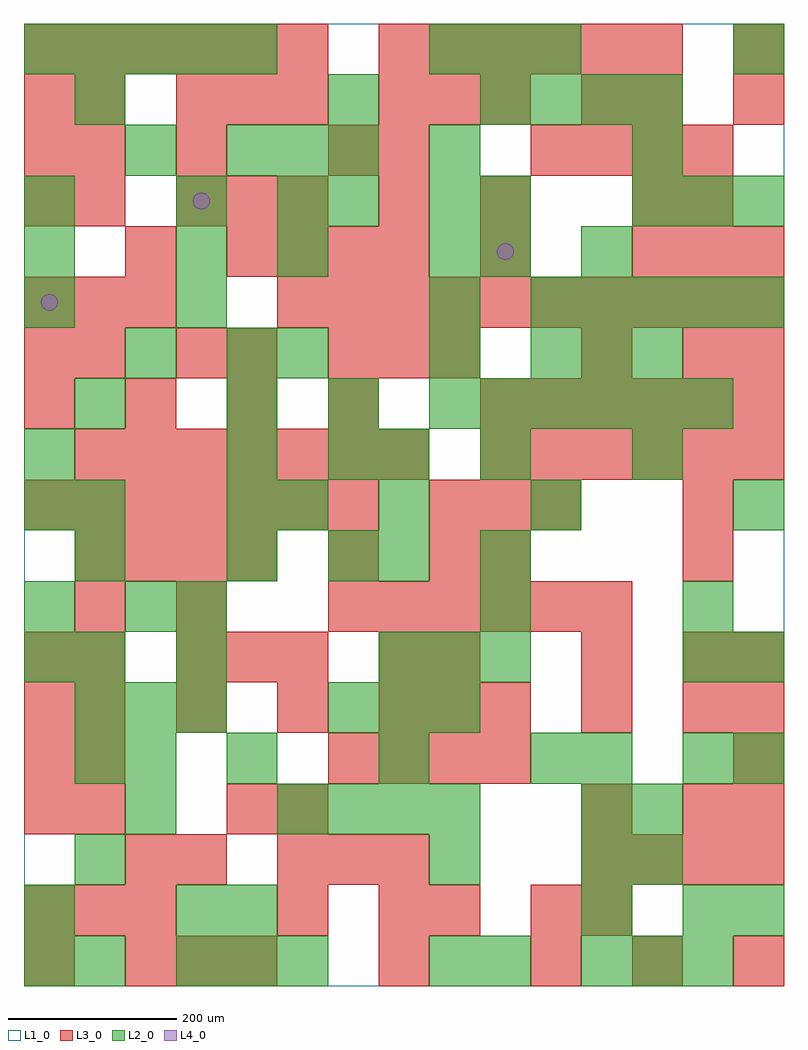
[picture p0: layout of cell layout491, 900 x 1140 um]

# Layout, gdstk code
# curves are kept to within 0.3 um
import gdstk
lib = gdstk.Library(unit=1e-6, precision=1e-09)
def R(c, l, rs):  # rectangles x0, y0, x1, y1
    for r in rs: c.add(gdstk.rectangle(r[:2], r[2:], *l))
def A(c, l, x, y, w, h, nx, ny, dx, dy):  # array of equal rectangles
    R(c, l, [(x+i*dx, y+j*dy, x+i*dx+w, y+j*dy+h) for i in range(nx) for j in range(ny)])
def P(c, l, *ps):  # polygons
    for p in ps: c.add(gdstk.Polygon(p, *l))
L1_0 = (1, 0)
L2_0 = (2, 0)
L3_0 = (3, 0)
L4_0 = (4, 0)

layout491 = lib.new_cell('layout491')
R(layout491, L1_0, [(0,0,900,1140)])
A(layout491, L2_0, 60, 0, 60, 60, 1, 5, 0, 120)
A(layout491, L2_0, 180, 0, 60, 60, 3, 1, 60, 0)
A(layout491, L2_0, 660, 0, 60, 60, 3, 1, 60, 0)
A(layout491, L2_0, 660, 60, 60, 60, 1, 4, 0, 60)
A(layout491, L2_0, 300, 180, 60, 60, 4, 1, 60, 0)
A(layout491, L2_0, 240, 240, 60, 60, 3, 1, 180, 0)
A(layout491, L2_0, 60, 300, 60, 60, 3, 1, 60, 0)
A(layout491, L2_0, 360, 300, 60, 60, 3, 1, 60, 0)
A(layout491, L2_0, 420, 360, 60, 60, 3, 1, 60, 0)
A(layout491, L2_0, 240, 480, 60, 60, 1, 3, 0, 60)
A(layout491, L2_0, 420, 480, 60, 60, 1, 3, 0, 60)
A(layout491, L2_0, 240, 660, 60, 60, 3, 1, 120, 0)
A(layout491, L2_0, 540, 660, 60, 60, 5, 1, 60, 0)
A(layout491, L2_0, 480, 720, 60, 60, 1, 5, 0, 60)
A(layout491, L2_0, 600, 720, 60, 60, 3, 1, 60, 0)
A(layout491, L2_0, 0, 780, 60, 60, 1, 3, 0, 60)
A(layout491, L2_0, 180, 780, 60, 60, 1, 3, 0, 60)
A(layout491, L2_0, 600, 780, 60, 60, 5, 1, 60, 0)
A(layout491, L2_0, 720, 900, 60, 60, 3, 1, 60, 0)
A(layout491, L2_0, 240, 960, 60, 60, 3, 1, 60, 0)
A(layout491, L2_0, 540, 1020, 60, 60, 4, 1, 60, 0)
A(layout491, L2_0, 0, 1080, 60, 60, 5, 1, 60, 0)
A(layout491, L2_0, 480, 1080, 60, 60, 3, 1, 60, 0)
R(layout491, L2_0, [(0,0,60,60), (480,0,540,60), (540,0,600,60), (0,60,60,120), (180,60,240,120), (240,60,300,120), (780,60,840,120), (840,60,900,120), (480,120,540,180), (720,120,780,180), (120,180,180,240), (720,180,780,240), (120,240,180,300), (780,240,840,300), (840,240,900,300), (0,360,60,420), (180,360,240,420), (780,360,840,420), (840,360,900,420), (0,420,60,480), (120,420,180,480), (180,420,240,480), (540,420,600,480), (780,420,840,480), (360,480,420,540), (540,480,600,540), (0,540,60,600), (60,540,120,600), (300,540,360,600), (600,540,660,600), (840,540,900,600), (0,600,60,660), (360,600,420,660), (540,600,600,660), (720,600,780,660), (60,660,120,720), (120,720,180,780), (240,720,300,780), (300,720,360,780), (300,840,360,900), (540,840,600,900), (660,840,720,900), (300,900,360,960), (360,900,420,960), (540,900,600,960), (120,960,180,1020), (720,960,780,1020), (60,1020,120,1080), (360,1020,420,1080), (840,1080,900,1140)])
A(layout491, L3_0, 120, 0, 60, 60, 3, 1, 60, 0)
A(layout491, L3_0, 600, 0, 60, 60, 3, 1, 120, 0)
A(layout491, L3_0, 0, 60, 60, 60, 3, 2, 60, 720)
A(layout491, L3_0, 180, 120, 60, 60, 1, 3, 0, 300)
A(layout491, L3_0, 300, 120, 60, 60, 3, 1, 60, 0)
A(layout491, L3_0, 660, 120, 60, 60, 4, 1, 60, 0)
A(layout491, L3_0, 0, 180, 60, 60, 1, 4, 0, 60)
A(layout491, L3_0, 840, 180, 60, 60, 1, 4, 0, 60)
A(layout491, L3_0, 360, 240, 60, 60, 4, 1, 60, 0)
A(layout491, L3_0, 60, 300, 60, 60, 4, 1, 120, 0)
A(layout491, L3_0, 540, 300, 60, 60, 3, 1, 120, 0)
A(layout491, L3_0, 180, 360, 60, 60, 3, 2, 60, 540)
A(layout491, L3_0, 360, 420, 60, 60, 6, 1, 60, 0)
A(layout491, L3_0, 60, 480, 60, 60, 4, 1, 60, 0)
A(layout491, L3_0, 0, 540, 60, 60, 7, 1, 60, 0)
A(layout491, L3_0, 480, 540, 60, 60, 3, 1, 60, 0)
A(layout491, L3_0, 780, 540, 60, 60, 1, 3, 0, 180)
A(layout491, L3_0, 60, 600, 60, 60, 7, 1, 60, 0)
A(layout491, L3_0, 540, 600, 60, 60, 6, 2, 60, 60)
A(layout491, L3_0, 0, 660, 60, 60, 4, 1, 120, 0)
A(layout491, L3_0, 360, 720, 60, 60, 3, 1, 60, 0)
A(layout491, L3_0, 300, 780, 60, 60, 10, 1, 60, 0)
A(layout491, L3_0, 240, 840, 60, 60, 4, 1, 60, 0)
A(layout491, L3_0, 720, 840, 60, 60, 3, 1, 60, 0)
A(layout491, L3_0, 0, 900, 60, 60, 1, 3, 0, 60)
A(layout491, L3_0, 60, 900, 60, 60, 1, 3, 0, 60)
A(layout491, L3_0, 600, 960, 60, 60, 4, 1, 60, 0)
A(layout491, L3_0, 180, 1020, 60, 60, 3, 1, 60, 0)
A(layout491, L3_0, 420, 1020, 60, 60, 3, 1, 60, 0)
A(layout491, L3_0, 0, 1080, 60, 60, 6, 1, 60, 0)
A(layout491, L3_0, 420, 1080, 60, 60, 6, 1, 60, 0)
R(layout491, L3_0, [(0,0,60,60), (420,0,480,60), (300,60,360,120), (420,60,480,120), (480,60,540,120), (600,60,660,120), (660,60,720,120), (120,120,180,180), (60,180,120,240), (240,180,300,240), (300,180,360,240), (660,180,720,240), (780,180,840,240), (60,240,120,300), (480,300,540,360), (60,360,120,420), (420,360,480,420), (480,360,540,420), (660,360,720,420), (780,360,840,420), (60,420,120,480), (360,480,420,540), (480,480,540,540), (540,480,600,540), (780,480,840,540), (0,720,60,780), (60,720,120,780), (240,720,300,780), (660,720,720,780), (840,720,900,780), (120,840,180,900), (540,840,600,900), (420,900,480,960), (540,900,600,960), (720,900,780,960), (180,960,240,1020), (360,960,420,1020), (420,960,480,1020), (660,1020,720,1080), (720,1020,780,1080), (840,1020,900,1080), (840,1080,900,1140)])
P(layout491, L4_0, [(40,810),(39.239,813.827),(37.071,817.071),(33.827,819.239),(30,820),(26.173,819.239),(22.929,817.071),(20.761,813.827),(20,810),(20.761,806.173),(22.929,802.929),(26.173,800.761),(30,800),(33.827,800.761),(37.071,802.929),(39.239,806.173)],
  [(220,930),(219.239,933.827),(217.071,937.071),(213.827,939.239),(210,940),(206.173,939.239),(202.929,937.071),(200.761,933.827),(200,930),(200.761,926.173),(202.929,922.929),(206.173,920.761),(210,920),(213.827,920.761),(217.071,922.929),(219.239,926.173)],
  [(580,870),(579.239,873.827),(577.071,877.071),(573.827,879.239),(570,880),(566.173,879.239),(562.929,877.071),(560.761,873.827),(560,870),(560.761,866.173),(562.929,862.929),(566.173,860.761),(570,860),(573.827,860.761),(577.071,862.929),(579.239,866.173)])

lib.write_gds('layout491.gds')
